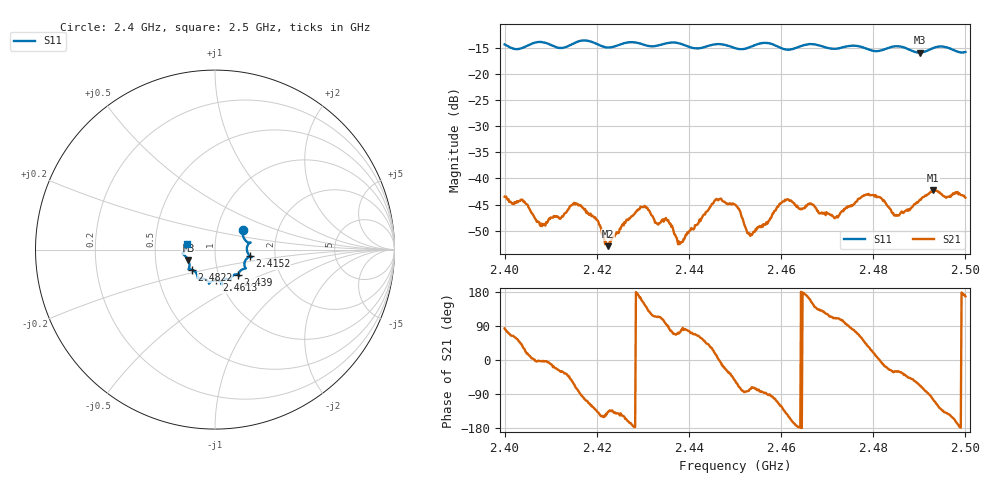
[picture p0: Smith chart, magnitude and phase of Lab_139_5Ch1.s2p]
# Hz S RI R 50
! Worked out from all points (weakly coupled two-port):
!   601 points, 2.4 GHz to 2.5 GHz, reference 50 ohm
!   highest |S21| = -42.21 dB at 2.493 GHz (marker M1); lowest = -53.0 dB at 2.4225 GHz (marker M2)
!   lowest |S11| = -15.9 dB at 2.4902 GHz (marker M3), VSWR 1.38, Z = 36.9 - j4.59 ohm
!   |S11| at or under -10 dB: start of sweep to end of sweep
!   S12 and S22 are empty: the file has one direction only
!   S11 on the Smith chart (normalised r, x): 2.4 GHz: 1.33, +0.31; 2.4152 GHz: 1.48, -0.11; 2.439 GHz: 1.24, -0.36; 2.4613 GHz: 0.96, -0.34; 2.4822 GHz: 0.75, -0.17; 2.5 GHz: 0.72, +0.05
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2.4e9  0.1561 0.1114  0.000769 0.00665  0 0  0 0
2.404e9  0.172 0.0485  0.00511 0.00337  0 0  0 0
2.408167e9  0.1979 0.0394  0.0035 -0.000202  0 0  0 0
2.415167e9  0.1946 -0.0362  0.00242 -0.00532  0 0  0 0
2.416667e9  0.2041 -0.0419  -0.000342 -0.00541  0 0  0 0
2.4225e9  0.1668 -0.0658  -0.00162 -0.00157  0 0  0 0
2.43e9  0.1589 -0.1083  -0.00476 0.00238  0 0  0 0
2.433333e9  0.1328 -0.1325  -0.00151 0.00329  0 0  0 0
2.439e9  0.1281 -0.1392  0.000426 0.0026  0 0  0 0
2.445667e9  0.0843 -0.1728  0.00589 0.00183  0 0  0 0
2.45e9  0.0687 -0.1632  0.00332 -0.00456  0 0  0 0
2.453333e9  0.0371 -0.1775  0.000673 -0.00274  0 0  0 0
2.461333e9  0.00805 -0.1708  -0.0051 -0.00374  0 0  0 0
2.466667e9  -0.0331 -0.1904  -0.00498 0.00274  0 0  0 0
2.471833e9  -0.0636 -0.1624  -0.0015 0.00394  0 0  0 0
2.478167e9  -0.0976 -0.1476  0.00477 0.005  0 0  0 0
2.482167e9  -0.1287 -0.112  0.00597 -0.00113  0 0  0 0
2.483333e9  -0.1399 -0.1102  0.00487 -0.00218  0 0  0 0
2.485167e9  -0.148 -0.1103  0.00378 -0.00228  0 0  0 0
2.490167e9  -0.1482 -0.0607  0.00234 -0.00583  0 0  0 0
2.493e9  -0.1749 -0.0276  -0.0019 -0.00752  0 0  0 0
2.5e9  -0.1587 0.034  -0.00642 0.00137  0 0  0 0
